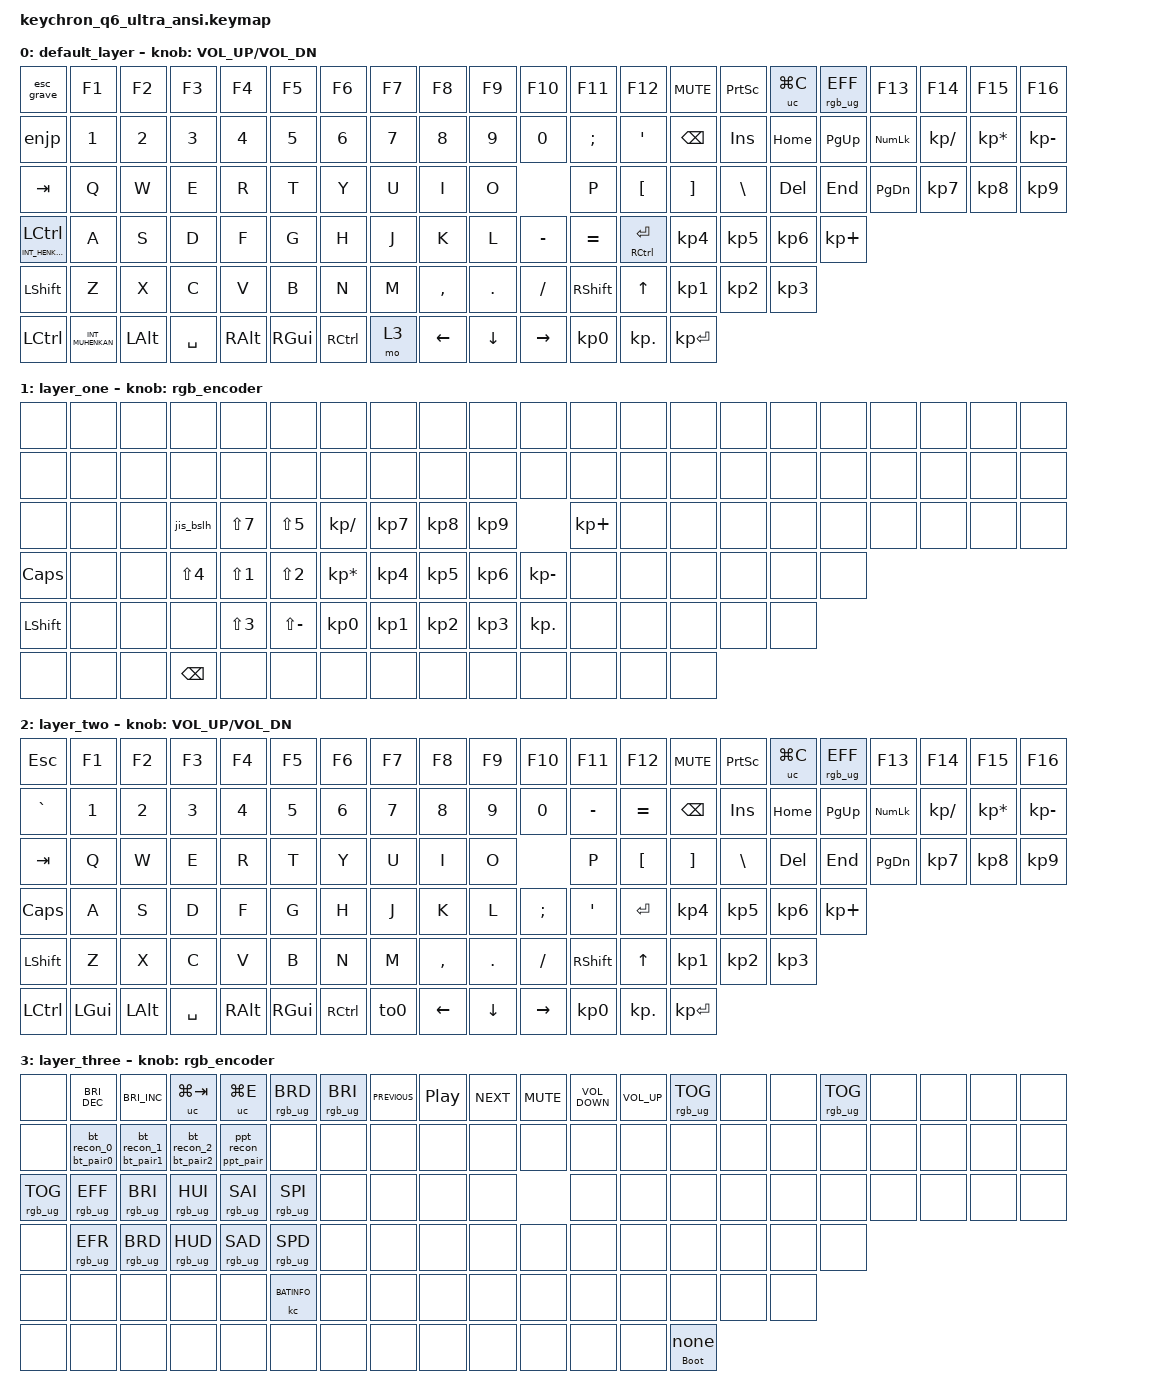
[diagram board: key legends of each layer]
/*
 * Copyright (c) 2023 The ZMK Contributors
 *
 * SPDX-License-Identifier: MIT
 */

#include <dt-bindings/zmk/keychron.h>
#include <behaviors.dtsi>
#include <dt-bindings/zmk/keys.h>
#include <dt-bindings/zmk/mouse.h>
#include <dt-bindings/zmk/rgb.h>

/ {
    behaviors {
        rgb_encoder: rgb_encoder {
            compatible = "zmk,behavior-sensor-rotate";
            #sensor-binding-cells = <0>;
            bindings = <&rgb_ug RGB_BRI>, <&rgb_ug RGB_BRD>;

            tap-ms = <20>;
        };

        mouse_encoder: mouse_encoder {
            compatible = "zmk,behavior-sensor-rotate-var";
            #sensor-binding-cells = <2>;
            bindings = <&mkp>, <&mkp>;

            tap-ms = <20>;
        };

        // ==========================================================
        // JIS/ANSI記号補正は、module/jis_override (独立Cモジュール)へ
        // 移行しました。以下の jis_* mod-morphは、もう .keymap 側の
        // 通常キーからは使用していません(Cモジュールが同じ内容を、
        // Launcherに影響されない形で再現しています)。
        //
        // Escapeキー用の esc_grave/esc_tilde は引き続き使用しますが、
        // 中身は「補正済みの結果を直接出す」のではなく、「本来の
        // ANSIキー(GRAVE / Shift+GRAVE)を合成して送り、Cモジュール
        // 自身に補正させる」形に書き換えています(Cモジュールとの
        // 二重補正を避けるため)。
        // ==========================================================

        // Escapeキー用: 無変換=ESC / Shift=~(JIS) / Ctrl=`(JIS)
        // 2段階のmod-morphで、Ctrl優先→その次にShiftを判定する。
        // Shift/Ctrl分岐は「GRAVEキーを合成して送る」ことで、
        // Cモジュールのjis_grave相当のルールに補正を委ねている。

        esc_tilde: esc_tilde {
            compatible = "zmk,behavior-mod-morph";
            label = "ESC_TILDE";
            #binding-cells = <0>;
            bindings = <&kp ESC>, <&kp LS(GRAVE)>;

            mods = <(MOD_LSFT|MOD_RSFT)>;
        };

        esc_grave: esc_grave {
            compatible = "zmk,behavior-mod-morph";
            label = "ESC_GRAVE";
            #binding-cells = <0>;
            bindings = <&esc_tilde>, <&kp GRAVE>;

            mods = <(MOD_LCTL|MOD_RCTL)>;
        };

        // \ (無変換、¥として表示) / | (Shift)
        // INT3を使っており、Cモジュールのトリガー(BACKSLASH)とは
        // 別のキーコードなので、衝突せず、そのまま使えます。
        jis_bslh: jis_bslh {
            compatible = "zmk,behavior-mod-morph";
            label = "JIS_BSLH";
            #binding-cells = <0>;
            bindings = <&kp INT3>, <&kp LS(INT3)>;

            mods = <(MOD_LSFT|MOD_RSFT)>;
        };

        to0: to0 {
            compatible = "zmk,behavior-tap-dance";
            label = "TO0";
            #binding-cells = <0>;
            bindings = <&none>, <&none>, <&to 0>;
        };

        enjp: enjp {
            compatible = "zmk,behavior-tap-dance";
            label = "ENJP";
            #binding-cells = <0>;
            bindings = <&kp LANGUAGE_2>, <&kp LANGUAGE_1>;
        };
    };

    macro1: zm_ma {
        compatible = "zmk,behavior-macro-one-param";
        #binding-cells = <1>;
        bindings = <&kp 0x770000>;
    };

    siri: siri {
        compatible = "zmk,behavior-macro";
        #binding-cells = <0>;
        bindings = <&macro_tap_time 500>, <&uc LG(SPACE)>;
    };

    lm: layer_mod {
        compatible = "zmk,behavior-macro-two-param";
        wait-ms = <0>;
        tap-ms = <0>;
        #binding-cells = <2>;
        bindings =
            <&macro_param_1to1>,
            <&macro_press>,
            <&mo MACRO_PLACEHOLDER &macro_param_2to1>,
            <&macro_press>,
            <&kp MACRO_PLACEHOLDER>,
            <&macro_pause_for_release>,
            <&macro_param_2to1>,
            <&macro_release>,
            <&kp MACRO_PLACEHOLDER &macro_param_1to1>,
            <&macro_release>,
            <&mo MACRO_PLACEHOLDER>;
    };

    td1: tapd_layer {
        compatible = "zmk,behavior-tap-dance1";
        #binding-cells = <1>;
        tapping-term-ms = <350>;
        bindings = <&mo 0>, <&mo 0>, <&mo 0>, <&mo 0>, <&to 0>;
    };

    kc_lp: l1 {
        compatible = "zmk,behavior-hold-tap";
        #binding-cells = <2>;
        flavor = "tap-preferred";
        tapping-term-ms = <3000>;  // delay amount in ms
        bindings = <&kc>, <&none>;
    };

    long_press_bootloader: lp_bootloader {
        compatible = "zmk,behavior-hold-tap";
        #binding-cells = <2>;
        flavor = "tap-preferred";
        tapping-term-ms = <3000>;  // delay amount in ms
        bindings = <&bootloader>, <&none>;
    };

    // kc_nkro:kc_nkro{
    //     compatible = "zmk,behavior-hold-tap";
    //     #binding-cells = <2>;
    //     flavor = "tap-preferred";
    //     tapping-term-ms = <2000>;  // delay amount in ms
    //     bindings = <&kc NKRO>, <&none>;
    // };

    ZMK_MACRO(bt_pair0,

    bindings = <&kc BT_PAIR 0>;

    )
    ZMK_MACRO(

    bt_pair1,
    bindings = <&kc BT_PAIR 1>;

    )
    ZMK_MACRO(

    bt_pair2,
    bindings = <&kc BT_PAIR 2>;

    )
    ZMK_MACRO(

    ppt_pair,
    bindings = <&kc PPT_PAIR 0>;

    )
    ZMK_MACRO(

    bt_recon_0,
    bindings = <&kc BT_SEL 0>;

    )
    ZMK_MACRO(

    bt_recon_1,
    bindings = <&kc BT_SEL 1>;

    )
    ZMK_MACRO(

    bt_recon_2,
    bindings = <&kc BT_SEL 2>;

    )
    ZMK_MACRO(

    ppt_recon,
    bindings = <&kc PPT_SEL 0>;

    )

    bt_pair_0: bt_pair_0 {
        compatible = "zmk,behavior-hold-tap";
        #binding-cells = <2>;
        flavor = "tap-preferred";
        tapping-term-ms = <3000>;  // delay amount in ms
        bindings = <&bt_pair0>, <&bt_recon_0>;
    };

    bt_pair_1: bt_pair_1 {
        compatible = "zmk,behavior-hold-tap";
        #binding-cells = <2>;
        flavor = "tap-preferred";
        tapping-term-ms = <3000>;  // delay amount in ms
        bindings = <&bt_pair1>, <&bt_recon_1>;
    };

    bt_pair_2: bt_pair_2 {
        compatible = "zmk,behavior-hold-tap";
        #binding-cells = <2>;
        flavor = "tap-preferred";
        tapping-term-ms = <3000>;  // delay amount in ms
        bindings = <&bt_pair2>, <&bt_recon_2>;
    };

    ppt_pair_0: ppt_pair_0 {
        compatible = "zmk,behavior-hold-tap";
        #binding-cells = <2>;
        flavor = "tap-preferred";
        tapping-term-ms = <3000>;  // delay amount in ms
        bindings = <&ppt_pair>, <&ppt_recon>;
    };

    uc: user_custom {
        compatible = "zmk,behavior-key-press";
        #binding-cells = <1>;
    };

    combos {
        compatible = "zmk,combos";

        combo_a {
            timeout-ms = <400>;
            layers = <3>;
            key-positions = <69 80>; //fn+j+z
            bindings = <&kc_lp RCV>;
        };

        // ==========================================================
        // ここから下、ユーザー指定の追加コンボ(すべてlayer 0のみ有効)
        // 括弧類は、Cモジュールとの二重補正を避けるため、
        // 「補正済みの結果」ではなく「本来のANSIキー+Shiftの合成」で
        // 記述しています(Cモジュール側で正しい記号に補正されます)。
        // ==========================================================

        combo_ml {
            timeout-ms = <50>;
            layers = <0>;
            key-positions = <69 70>; // J K
            bindings = <&mkp LCLK>;
        };

        combo_mr {
            timeout-ms = <50>;
            layers = <0>;
            key-positions = <70 71>; // K L
            bindings = <&mkp RCLK>;
        };

        combo_cl {
            timeout-ms = <50>;
            layers = <0>;
            key-positions = <49 50>; // U I
            bindings = <&kp LEFT>;
        };

        combo_cr {
            timeout-ms = <50>;
            layers = <0>;
            key-positions = <50 51>; // I O
            bindings = <&kp RIGHT>;
        };

        combo_cu {
            timeout-ms = <50>;
            layers = <0>;
            key-positions = <49 51>; // U O
            bindings = <&kp UP>;
        };

        combo_cd {
            timeout-ms = <50>;
            layers = <0>;
            key-positions = <69 71>; // J L
            bindings = <&kp DOWN>;
        };

        combo_lbkt_c {
            timeout-ms = <50>;
            layers = <0>;
            key-positions = <47 45>; // T E
            bindings = <&kp LEFT_BRACKET>; // Cモジュールが JIS OS上で [ に補正
        };

        combo_rbkt_c {
            timeout-ms = <50>;
            layers = <0>;
            key-positions = <48 50>; // Y I
            bindings = <&kp RIGHT_BRACKET>; // Cモジュールが JIS OS上で ] に補正
        };

        combo_lparen_c {
            timeout-ms = <50>;
            layers = <0>;
            key-positions = <65 67>; // D G
            bindings = <&kp LS(N9)>; // Cモジュールが JIS OS上で ( に補正
        };

        combo_rparen_c {
            timeout-ms = <50>;
            layers = <0>;
            key-positions = <68 70>; // H K
            bindings = <&kp LS(N0)>; // Cモジュールが JIS OS上で ) に補正
        };

        combo_bs_c {
            timeout-ms = <50>;
            layers = <0>;
            key-positions = <65 66>; // D F
            bindings = <&lt 1 BACKSPACE>;
        };

        combo_ent_c {
            timeout-ms = <50>;
            layers = <0>;
            key-positions = <69 70 71>; // J K L
            bindings = <&lt 1 ENTER>;
        };

        combo_to2_c {
            timeout-ms = <50>;
            layers = <0>;
            key-positions = <80 81 82>; // Z X C
            bindings = <&to 2>;
        };

        combo_gui_c {
            timeout-ms = <50>;
            layers = <0>;
            key-positions = <67 68>; // G H
            bindings = <&kp LGUI>;
        };

        combo_del_c {
            timeout-ms = <50>;
            layers = <0>;
            key-positions = <64 65 66>; // S D F
            bindings = <&kp DEL>;
        };

        // combo_b {v
        //         timeout-ms = <1000>;
        //         layers =< 1 3>;
        //         key-positions = <64>; //fn+b
        //         bindings = <&kc BATINFO>;
        // };
        // combo_c {
        //         timeout-ms = <1000>;
        //         layers =< 1 3>;
        //         key-positions = <58 81>; //fn+home+right
        //         bindings = <&kc_lp RGBTEST>;
        // };

        combo_t0 {
            timeout-ms = <10 >;
            layers = <4>;
            key-positions = <120>;
            bindings = <&to 3 >;
        };

        combo_t1 {
            timeout-ms = <10 >;
            layers = <4>;
            key-positions = <120>;
            bindings = <&tog 3 >;
        };

        combo_t2 {
            timeout-ms = <10 >;
            layers = <4>;
            key-positions = <120>;
            bindings = <&sl 3 >;
        };

        combo_t3 {
            timeout-ms = <10 >;
            layers = <4>;
            key-positions = <120>;
            bindings = <&lt 3 SPACE>;
        };

        combo_t4 {
            timeout-ms = <10 >;
            layers = <4>;
            key-positions = <120>;
            bindings = <&sk LSHIFT>;
        };

        combo_t5 {
            timeout-ms = <10 >;
            layers = <4>;
            key-positions = <120>;
            bindings = <&mt LSHIFT SPACE>;
        };

        combo_t6 {
            timeout-ms = <10 >;
            layers = <4>;
            key-positions = <120>;
            bindings = <&gresc>;
        };

        //  combo_t7 {
        //     timeout-ms = <10 >;
        //     layers =<4>;
        //     key-positions = <120>;
        //     bindings = <&mkp 0>;
        // };
    };

    macros {
    };

    keymap {
        compatible = "zmk,keymap";

        //mac
        // ※ Macを使用しないため、Winレイヤー(layer_two)と完全に同一の内容にしています。
        //   (2026-07-XX 変更。元のMac用内容はlayer_oneと共にKeychronオリジナルのまま残っています)
        // ※ JIS/ANSI記号補正は module/jis_override (独立Cモジュール) が担当するため、
        //   ここでは標準の &kp (本来のANSIキーコード) をそのまま使用しています。

        default_layer {
            bindings = <
&esc_grave            &kp F1            &kp F2    &kp F3     &kp F4    &kp F5    &kp F6     &kp F7   &kp F8     &kp F9    &kp F10     &kp F11     &kp F12          &kp C_MUTE    &kp PRINTSCREEN  &uc LG(C)  &rgb_ug RGB_EFF  &kp F13         &kp F14       &kp F15          &kp F16
&enjp                 &kp N1            &kp N2    &kp N3     &kp N4    &kp N5    &kp N6     &kp N7   &kp N8     &kp N9    &kp N0      &kp SEMICOLON &kp SINGLE_QUOTE &kp BSPC      &kp INS          &kp HOME   &kp PAGE_UP      &kp KP_NUMLOCK  &kp KP_SLASH  &kp KP_MULTIPLY  &kp KP_MINUS
&kp TAB               &kp Q             &kp W     &kp E      &kp R     &kp T     &kp Y      &kp U    &kp I      &kp O     &kp P       &kp LEFT_BRACKET &kp RIGHT_BRACKET &kp BACKSLASH &kp DEL          &kp END    &kp PAGE_DOWN    &kp KP_N7       &kp KP_N8     &kp KP_N9
&mt INT_HENKAN LCTRL  &kp A             &kp S     &kp D      &kp F     &kp G     &kp H      &kp J    &kp K      &kp L     &kp MINUS   &kp EQUAL   &mt RCTRL ENTER  &kp KP_N4     &kp KP_N5        &kp KP_N6  &kp KP_PLUS
&kp LSHFT             &kp Z             &kp X     &kp C      &kp V     &kp B     &kp N      &kp M    &kp COMMA  &kp DOT   &kp FSLH    &kp RSHFT   &kp UP           &kp KP_N1     &kp KP_N2        &kp KP_N3
&kp LCTRL             &kp INT_MUHENKAN  &kp LALT  &kp SPACE  &kp RALT  &kp RGUI  &kp RCTRL  &mo 3    &kp LEFT   &kp DOWN  &kp RIGHT   &kp KP_N0   &kp KP_DOT       &kp KP_ENTER
            >;

            sensor-bindings = <&inc_dec_kp C_VOL_UP C_VOL_DN>;
        };

        //mac fn layer
        // ※ layer_one内の「固定記号」キー(旧: LEFT_BRACKET/CARET/LS(INT1)直接指定)も、
        //   Cモジュールとの二重補正を避けるため、「本来のANSIキー+Shift」の合成に
        //   書き換えています。jis_bslhはINT3を使っており衝突しないため、
        //   従来のmod-morphのまま残しています。

        layer_one {
            bindings = <
&none           &none  &none  &none          &none       &none             &none            &none      &none      &none      &none         &none  &none  &none  &none  &none  &none  &none  &none  &none  &none
&none           &none  &none  &none          &none       &none             &none            &none      &none      &none      &none         &none  &none  &none  &none  &none  &none  &none  &none  &none  &none
&none           &none  &none  &jis_bslh      &kp LS(N7)  &kp LS(N5)        &kp KP_SLASH     &kp KP_N7  &kp KP_N8  &kp KP_N9  &kp KP_PLUS   &none  &none  &none  &none  &none  &none  &none  &none  &none
&kp CLCK        &none  &none  &kp LS(N4)     &kp LS(N1)  &kp LS(N2)        &kp KP_ASTERISK  &kp KP_N4  &kp KP_N5  &kp KP_N6  &kp KP_MINUS  &none  &none  &none  &none  &none  &none
&kp LEFT_SHIFT  &none  &none  &none          &kp LS(N3)  &kp LS(MINUS)     &kp KP_N0        &kp KP_N1  &kp KP_N2  &kp KP_N3  &kp KP_DOT    &none  &none  &none  &none  &none
&none           &none  &none  &kp BACKSPACE  &none       &none             &none            &none      &none      &none      &none         &none  &none  &none
            >;

            sensor-bindings = <&rgb_encoder>;
        };

        //win
        // ※ JIS/ANSI記号補正は module/jis_override (独立Cモジュール) が担当するため、
        //   ここでは標準の &kp (本来のANSIキーコード) をそのまま使用しています。

        layer_two {
            bindings = <
&kp ESC        &kp F1    &kp F2    &kp F3     &kp F4    &kp F5    &kp F6             &kp F7   &kp F8     &kp F9    &kp F10    &kp F11     &kp F12     &kp C_MUTE    &kp PRINTSCREEN  &uc LG(C)  &rgb_ug RGB_EFF  &kp F13         &kp F14       &kp F15          &kp F16
&kp GRAVE      &kp N1    &kp N2    &kp N3     &kp N4    &kp N5    &kp N6             &kp N7   &kp N8     &kp N9    &kp N0     &kp MINUS   &kp EQUAL   &kp BSPC      &kp INS          &kp HOME   &kp PAGE_UP      &kp KP_NUMLOCK  &kp KP_SLASH  &kp KP_MULTIPLY  &kp KP_MINUS
&kp TAB        &kp Q     &kp W     &kp E      &kp R     &kp T     &kp Y              &kp U    &kp I      &kp O     &kp P      &kp LEFT_BRACKET &kp RIGHT_BRACKET &kp BACKSLASH &kp DEL          &kp END    &kp PAGE_DOWN    &kp KP_N7       &kp KP_N8     &kp KP_N9
&kp CLCK       &kp A     &kp S     &kp D      &kp F     &kp G     &kp H              &kp J    &kp K      &kp L     &kp SEMICOLON &kp SINGLE_QUOTE &kp RET     &kp KP_N4     &kp KP_N5        &kp KP_N6  &kp KP_PLUS
&kp LSHFT      &kp Z     &kp X     &kp C      &kp V     &kp B     &kp N              &kp M    &kp COMMA  &kp DOT   &kp FSLH   &kp RSHFT   &kp UP      &kp KP_N1     &kp KP_N2        &kp KP_N3
&kp LCTRL      &kp LGUI  &kp LALT  &kp SPACE  &kp RALT  &kp RGUI  &kp RIGHT_CONTROL  &to0     &kp LEFT   &kp DOWN  &kp RIGHT  &kp KP_N0   &kp KP_DOT  &kp KP_ENTER
            >;

            sensor-bindings = <&inc_dec_kp C_VOL_UP C_VOL_DN>;
        };

        //win fn layer

        layer_three {
            bindings = <
&none            &kp C_BRIGHTNESS_DEC  &kp C_BRIGHTNESS_INC  &uc LG(TAB)      &uc LG(E)        &rgb_ug RGB_BRD  &rgb_ug RGB_BRI  &kp C_PREVIOUS  &kp C_PLAY_PAUSE  &kp C_NEXT  &kp C_MUTE  &kp C_VOLUME_DOWN  &kp C_VOLUME_UP  &rgb_ug RGB_TOG         &none  &none  &rgb_ug RGB_TOG  &none  &none  &none  &none
&none            &bt_pair_0 0 0        &bt_pair_1 0 0        &bt_pair_2 0 0   &ppt_pair_0 0 0  &none            &none            &none           &none             &none       &none       &none              &none            &none                   &none  &none  &none            &none  &none  &none  &none
&rgb_ug RGB_TOG  &rgb_ug RGB_EFF       &rgb_ug RGB_BRI       &rgb_ug RGB_HUI  &rgb_ug RGB_SAI  &rgb_ug RGB_SPI  &none            &none           &none             &none       &none       &none              &none            &none                   &none  &none  &none            &none  &none  &none
&none            &rgb_ug RGB_EFR       &rgb_ug RGB_BRD       &rgb_ug RGB_HUD  &rgb_ug RGB_SAD  &rgb_ug RGB_SPD  &none            &none           &none             &none       &none       &none              &none            &none                   &none  &none  &none
&none            &none                 &none                 &none            &none            &kc BATINFO      &none            &none           &none             &none       &none       &none              &none            &none                   &none  &none
&none            &none                 &none                 &none            &none            &none            &none            &none           &none             &none       &none       &none              &none            &long_press_bootloader 0 0
            >;

            sensor-bindings = <&rgb_encoder>;
        };
    };
};

&mt { tapping-term-ms = <400>; };

&inc_dec_kp { tap-ms = <20>; };
